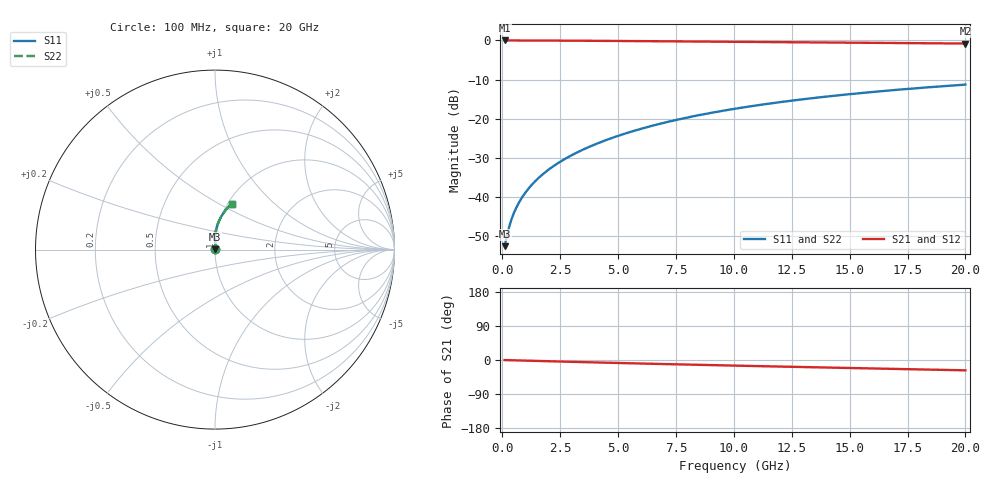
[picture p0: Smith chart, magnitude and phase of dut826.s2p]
! Touchstone file exported from HFSS 2024.1.0
!  File:  C:/UserFiles/LocalFiles/RDL_TSV_Batchsim/temp_RDL_bottom_826_1779862982.aedt
!  Generated:  02:26:03 PM May 27, 2026
!  Design:  RDL_bottom
!  Project:  temp_RDL_bottom_826_1779862982
!  Setup:  Setup1
!  Solution:  Sweep
! Variables:
!  dtsv = 10.80580581um
!  hbump = 3um
!  htsv = 61.1um
!  ldown = 350.08um
!  lrdl = 100um
!  p = 40
!  p1 = 57.87um
!  rhole = 1um
!  t = 450um
!  tdown = 2.66um
!  trdl = 3.915915916um
!  wdown = 27.82um
!  wrdl = 20um
# GHz S MA R 50.000000
! Terminal data exported
! Port[1] = RDL1_T1
! Port[2] = RDL1_T2
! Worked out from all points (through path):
!   200 points, 100 MHz to 20 GHz, reference 50 ohm
!   highest |S21| = -0.02 dB at 100 MHz (marker M1); lowest = -0.8 dB at 20 GHz (marker M2)
!   group delay of S21, straight-line fit = 3.73 ps
!   lowest |S11| = -52.6 dB at 100 MHz (marker M3), VSWR 1.00, Z = 50.2 + j0.124 ohm
!   |S11| at or under -10 dB: start of sweep to end of sweep
!   |S22| runs from -52.6 to -11.3 dB; largest |S21 - S12| = 5.1e-15
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0.1  0.002349 31.6  0.998 -0.2  0.998 -0.2  0.002349 31.6
! Gamma 0 0 0 0
! Port Impedance 50 0 50 0
0.2  0.003193 49.5  0.9979 -0.3  0.9979 -0.3  0.003193 49.5
0.3  0.00418 58.9  0.9977 -0.5  0.9977 -0.5  0.00418 58.9
0.4  0.005197 64.5  0.9976 -0.7  0.9976 -0.7  0.005197 64.5
0.5  0.006217 68.3  0.9974 -0.8  0.9974 -0.8  0.006217 68.3
0.6  0.007238 71.2  0.9973 -1.0  0.9973 -1.0  0.007238 71.2
0.8  0.009295 75.3  0.997 -1.3  0.997 -1.3  0.009295 75.3
1.1  0.01244 79.4  0.9965 -1.8  0.9965 -1.8  0.01244 79.4
1.3  0.01458 81.4  0.9962 -2.2  0.9962 -2.2  0.01458 81.4
1.6  0.01785 83.6  0.9956 -2.6  0.9956 -2.6  0.01785 83.6
2.1  0.02348 86.1  0.9943 -3.4  0.9943 -3.4  0.02348 86.1
2.7  0.03052 87.9  0.9925 -4.4  0.9925 -4.4  0.03052 87.9
3.5  0.0404 89.4  0.9896 -5.6  0.9896 -5.6  0.0404 89.4
4.2  0.04948 89.9  0.9868 -6.7  0.9868 -6.7  0.04948 89.9
5  0.06029 90.1  0.9832 -7.9  0.9832 -7.9  0.06029 90.1
5.9  0.07291 89.7  0.979 -9.2  0.979 -9.2  0.07291 89.7
6.8  0.08588 89.0  0.9747 -10.5  0.9747 -10.5  0.08588 89.0
8.4  0.1094 87.1  0.967 -12.7  0.967 -12.7  0.1094 87.1
10.1  0.1347 84.7  0.9588 -14.9  0.9588 -14.9  0.1347 84.7
13.4  0.1829 79.8  0.9433 -19.1  0.9433 -19.1  0.1829 79.8
16.7  0.229 74.8  0.9277 -23.2  0.9277 -23.2  0.229 74.8
20  0.2722 70.2  0.9118 -27.2  0.9118 -27.2  0.2723 70.2
